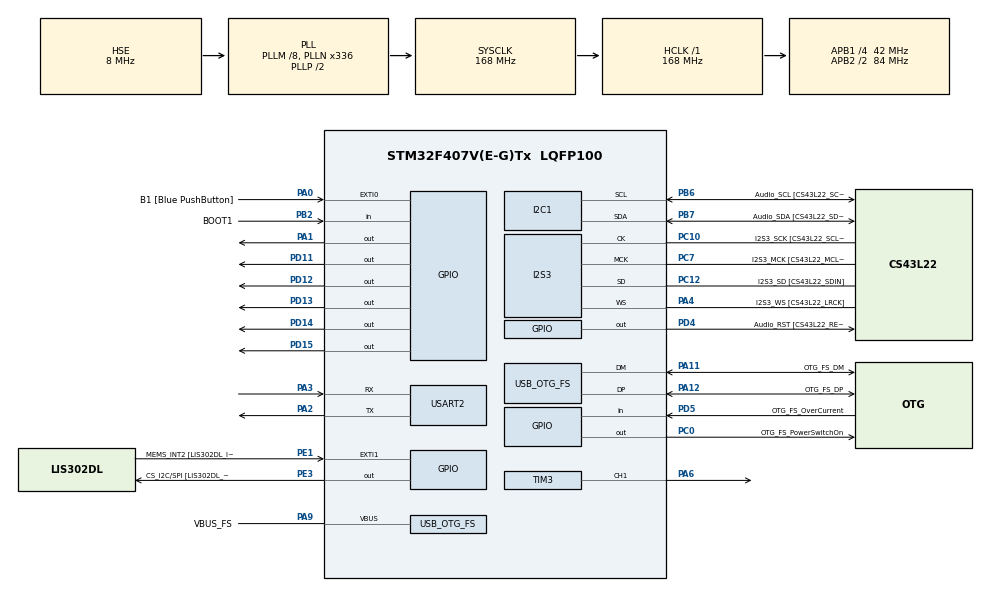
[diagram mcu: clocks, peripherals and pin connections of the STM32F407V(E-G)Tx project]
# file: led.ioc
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I2S3.AudioFreq-Half_Duplex_Master=I2S_AUDIOFREQ_96K
I2S3.ErrorAudioFreq=-2.34 %
I2S3.ErrorAudioFreq-Half_Duplex_Master=0.8 %
I2S3.FullDuplexMode=I2S_FULLDUPLEXMODE_DISABLE
I2S3.Instance=SPI$Index
I2S3.RealAudioFreq=93.75 KHz
I2S3.RealAudioFreq-Half_Duplex_Master=96.774 KHz
I2S3.VirtualMode=I2S_MODE_MASTER
Mcu.Family=STM32F4
Mcu.Name=STM32F407V(E-G)Tx
Mcu.Package=LQFP100
NVIC.OTG_FS_IRQn=true\:0\:0\:false\:false\:true\:true\:true\:true
NVIC.PriorityGroup=NVIC_PRIORITYGROUP_0
PA0-WKUP.GPIO_Label=B1 [Blue PushButton]
PA0-WKUP.GPIO_ModeDefaultEXTI=GPIO_MODE_EVT_RISING
PA0-WKUP.GPIO_PuPd=GPIO_NOPULL
PA0-WKUP.Signal=GPXTI0
PA1.Signal=GPIO_Output
PA10.GPIO_Label=OTG_FS_ID
PA10.GPIO_Mode=GPIO_MODE_AF_PP
PA10.GPIO_PuPd=GPIO_NOPULL
PA10.GPIO_Speed=GPIO_SPEED_FREQ_LOW
PA10.Signal=USB_OTG_FS_ID
PA11.GPIO_Label=OTG_FS_DM
PA11.GPIO_Mode=GPIO_MODE_AF_PP
PA11.GPIO_PuPd=GPIO_NOPULL
PA11.GPIO_Speed=GPIO_SPEED_FREQ_LOW
PA11.Mode=Host_Only
PA11.Signal=USB_OTG_FS_DM
PA12.GPIO_Label=OTG_FS_DP
PA12.GPIO_Mode=GPIO_MODE_AF_PP
PA12.GPIO_PuPd=GPIO_NOPULL
PA12.GPIO_Speed=GPIO_SPEED_FREQ_LOW
PA12.Mode=Host_Only
PA12.Signal=USB_OTG_FS_DP
PA13.GPIO_Label=SWDIO
PA13.Mode=Serial_Wire
PA13.Signal=SYS_JTMS-SWDIO
PA14.GPIO_Label=SWCLK
PA14.Mode=Serial_Wire
PA14.Signal=SYS_JTCK-SWCLK
PA2.Mode=Asynchronous
PA2.Signal=USART2_TX
PA3.Mode=Asynchronous
PA3.Signal=USART2_RX
PA4.GPIO_Label=I2S3_WS [CS43L22_LRCK]
PA4.GPIO_Mode=GPIO_MODE_AF_PP
PA4.GPIO_PuPd=GPIO_NOPULL
PA4.GPIO_Speed=GPIO_SPEED_FREQ_LOW
PA4.Mode=Half_Duplex_Master
PA4.Signal=I2S3_WS
PA5.GPIO_Label=SPI1_SCK [LIS302DL_SCL/SPC]
PA5.GPIO_Mode=GPIO_MODE_AF_PP
PA5.GPIO_PuPd=GPIO_NOPULL
PA5.GPIO_Speed=GPIO_SPEED_FREQ_LOW
PA5.Signal=SPI1_SCK
PA6.Signal=S_TIM3_CH1
PA7.GPIO_Label=SPI1_MOSI [LIS302DL_SDA/SDI/SDO]
PA7.GPIO_Mode=GPIO_MODE_AF_PP
PA7.GPIO_PuPd=GPIO_NOPULL
PA7.GPIO_Speed=GPIO_SPEED_FREQ_LOW
PA7.Signal=SPI1_MOSI
PA9.GPIO_Label=VBUS_FS
PA9.GPIO_Mode=GPIO_MODE_INPUT
PA9.GPIO_PuPd=GPIO_NOPULL
PA9.Mode=Activate_VBUS
PA9.Signal=USB_OTG_FS_VBUS
PB10.GPIO_Label=CLK_IN [MP45DT02_CLK]
PB10.GPIO_Mode=GPIO_MODE_AF_PP
PB10.GPIO_PuPd=GPIO_NOPULL
PB10.GPIO_Speed=GPIO_SPEED_FREQ_LOW
PB10.Signal=I2S2_CK
PB2.GPIO_Label=BOOT1
PB2.GPIO_Mode=GPIO_MODE_INPUT
PB2.GPIO_PuPd=GPIO_NOPULL
PB2.Signal=GPIO_Input
PB3.GPIO_Label=SWO
PB3.Signal=SYS_JTDO-SWO
PB6.GPIO_Label=Audio_SCL [CS43L22_SCL]
PB6.GPIO_Mode=GPIO_MODE_AF_OD
PB6.GPIO_Pu=GPIO_PULLUP
PB6.GPIO_PuPd=GPIO_NOPULL
PB6.GPIO_Speed=GPIO_SPEED_FREQ_LOW
PB6.Mode=I2C
PB6.Signal=I2C1_SCL
PB7.GPIO_Label=Audio_SDA [CS43L22_SDA]
PB7.GPIO_Mode=GPIO_MODE_AF_OD
PB7.GPIO_Pu=GPIO_PULLUP
PB7.GPIO_Speed=GPIO_SPEED_FREQ_LOW
PB7.Mode=I2C
PB7.Signal=I2C1_SDA
PC0.GPIO_Label=OTG_FS_PowerSwitchOn
PC0.GPIO_PuPd=GPIO_NOPULL
PC0.GPIO_Speed=GPIO_SPEED_FREQ_LOW
PC0.PinState=GPIO_PIN_SET
PC0.Signal=GPIO_Output
PC10.GPIO_Label=I2S3_SCK [CS43L22_SCLK]
PC10.GPIO_Mode=GPIO_MODE_AF_PP
PC10.GPIO_PuPd=GPIO_NOPULL
PC10.GPIO_Speed=GPIO_SPEED_FREQ_LOW
PC10.Mode=Half_Duplex_Master
PC10.Signal=I2S3_CK
PC12.GPIO_Label=I2S3_SD [CS43L22_SDIN]
PC12.GPIO_Mode=GPIO_MODE_AF_PP
PC12.GPIO_PuPd=GPIO_NOPULL
PC12.GPIO_Speed=GPIO_SPEED_FREQ_LOW
PC12.Mode=Half_Duplex_Master
PC12.Signal=I2S3_SD
PC14-OSC32_IN.GPIO_Label=PC14-OSC32_IN
PC14-OSC32_IN.Mode=LSE-External-Oscillator
PC14-OSC32_IN.Signal=RCC_OSC32_IN
PC15-OSC32_OUT.GPIO_Label=PC15-OSC32_OUT
PC15-OSC32_OUT.Mode=LSE-External-Oscillator
PC15-OSC32_OUT.Signal=RCC_OSC32_OUT
PC3.GPIO_Label=PDM_OUT [MP45DT02_DOUT]
PC3.GPIO_Mode=GPIO_MODE_AF_PP
PC3.GPIO_PuPd=GPIO_NOPULL
PC3.GPIO_Speed=GPIO_SPEED_FREQ_LOW
PC3.Signal=I2S2_SD
PC7.GPIO_Label=I2S3_MCK [CS43L22_MCLK]
PC7.GPIO_Mode=GPIO_MODE_AF_PP
PC7.GPIO_PuPd=GPIO_NOPULL
PC7.GPIO_Speed=GPIO_SPEED_FREQ_LOW
PC7.Mode=Master_Clock_Activated
PC7.Signal=I2S3_MCK
PD11.Signal=GPIO_Output
PD12.Signal=GPIO_Output
PD13.Signal=GPIO_Output
PD14.Signal=GPIO_Output
PD15.Signal=GPIO_Output
PD4.GPIO_Label=Audio_RST [CS43L22_RESET]
PD4.GPIO_PuPd=GPIO_NOPULL
PD4.GPIO_Speed=GPIO_SPEED_FREQ_LOW
PD4.Signal=GPIO_Output
PD5.GPIO_Label=OTG_FS_OverCurrent
PD5.GPIO_Mode=GPIO_MODE_INPUT
PD5.GPIO_PuPd=GPIO_NOPULL
PD5.Signal=GPIO_Input
PE1.GPIO_Label=MEMS_INT2 [LIS302DL_INT2]
PE1.GPIO_ModeDefaultEXTI=GPIO_MODE_EVT_RISING
PE1.GPIO_PuPd=GPIO_NOPULL
PE1.Signal=GPXTI1
PE3.GPIO_Label=CS_I2C/SPI [LIS302DL_CS_I2C/SPI]
PE3.GPIO_PuPd=GPIO_NOPULL
PE3.GPIO_Speed=GPIO_SPEED_FREQ_LOW
PE3.Signal=GPIO_Output
PH0-OSC_IN.GPIO_Label=PH0-OSC_IN
PH0-OSC_IN.Mode=HSE-External-Oscillator
PH0-OSC_IN.Signal=RCC_OSC_IN
PH1-OSC_OUT.GPIO_Label=PH1-OSC_OUT
PH1-OSC_OUT.Mode=HSE-External-Oscillator
PH1-OSC_OUT.Signal=RCC_OSC_OUT
ProjectManager.HeapSize=0x200
ProjectManager.StackSize=0x400
ProjectManager.TargetToolchain=Makefile
RCC.48MHZClocksFreq_Value=48000000
RCC.AHBFreq_Value=168000000
RCC.APB1CLKDivider=RCC_HCLK_DIV4
RCC.APB1Freq_Value=42000000
RCC.APB1TimFreq_Value=84000000
RCC.APB2CLKDivider=RCC_HCLK_DIV2
RCC.APB2Freq_Value=84000000
RCC.APB2TimFreq_Value=168000000
RCC.CortexFreq_Value=168000000
RCC.HCLKFreq_Value=168000000
RCC.HSE_VALUE=8000000
RCC.HSI_VALUE=16000000
RCC.PLLM=8
RCC.PLLN=336
RCC.PLLQ=7
RCC.SYSCLKFreq_VALUE=168000000
RCC.SYSCLKSource=RCC_SYSCLKSOURCE_PLLCLK
RCC.VCOOutputFreq_Value=336000000
SH.S_TIM3_CH1.0=TIM3_CH1,PWM Generation1 CH1
TIM3.Channel-PWM\ Generation1\ CH1=TIM_CHANNEL_1
TIM3.Period=999
TIM3.Prescaler=167
USART2.VirtualMode=VM_ASYNC
USB_HOST.BSP.number=1
USB_HOST.USBH_HandleTypeDef-CDC_FS=hUsbHostFS
USB_HOST.VirtualModeFS=Cdc
USB_HOST0.BSP.STBoard=false
USB_HOST0.BSP.api=Unknown
USB_HOST0.BSP.instance=PC0
USB_HOST0.BSP.ip=GPIO
USB_HOST0.BSP.mode=Output
USB_HOST0.BSP.name=Drive_VBUS_FS
USB_HOST0.BSP.solution=PC0
USB_OTG_FS.VirtualMode=Host_Only
USB_OTG_FS.phy_itface=HCD_PHY_EMBEDDED
VP_TIM3_VS_ClockSourceINT.Mode=Internal
VP_USB_HOST_VS_USB_HOST_CDC_FS.Mode=CDC_FS
board=STM32F407G-DISC1

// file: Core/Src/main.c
/* USER CODE BEGIN Header */
/**
  ******************************************************************************
  * @file           : main.c
  * @brief          : Main program body
  ******************************************************************************
  * @attention
  *
  * Copyright (c) 2026 STMicroelectronics.
  * All rights reserved.
  *
  * This software is licensed under terms that can be found in the LICENSE file
  * in the root directory of this software component.
  * If no LICENSE file comes with this software, it is provided AS-IS.
  *
  ******************************************************************************
  */
/* USER CODE END Header */
#include "main.h"
#include "i2c.h"
#include "i2s.h"
#include "tim.h"
#include "usart.h"
#include "usb_host.h"
#include "gpio.h"

/* USER CODE BEGIN Includes */
#include <string.h>
#include <stdio.h>
#include "ssd1306.h"
#include "ssd1306_fonts.h"
#include <stdio.h>
#include <math.h>
/* USER CODE END Includes */

/* USER CODE BEGIN PV */
uint8_t rx_byte;
char cmd_buffer[64];
uint8_t cmd_index = 0;
/* USER CODE END PV */

void SystemClock_Config(void);
void MX_USB_HOST_Process(void);

/* USER CODE BEGIN PFP */
void Process_Command(char *cmd);
/* USER CODE END PFP */

int main(void)
{

  /* MCU Configuration--------------------------------------------------------*/

  /* Reset of all peripherals, Initializes the Flash interface and the Systick. */
  HAL_Init();

  /* Configure the system clock */
  SystemClock_Config();

  /* Initialize all configured peripherals */
  MX_GPIO_Init();
  MX_I2C1_Init();
  MX_I2S3_Init();
  MX_USART2_UART_Init();
  MX_USB_HOST_Init();
  MX_TIM3_Init();

  /* Infinite loop */
  while (1)
  {
    MX_USB_HOST_Process();

    /* USER CODE BEGIN 3 */

    uint8_t byte;
HAL_UART_Receive(&huart2, &byte, 1, HAL_MAX_DELAY);

switch(byte)
{
    case '1':
        HAL_GPIO_WritePin(GPIOD, GPIO_PIN_12, GPIO_PIN_SET);
        HAL_Delay(500);
        HAL_GPIO_WritePin(GPIOD, GPIO_PIN_12, GPIO_PIN_RESET);
        break;
    case '2':
        HAL_GPIO_WritePin(GPIOD, GPIO_PIN_13, GPIO_PIN_SET);
        HAL_Delay(500);
        HAL_GPIO_WritePin(GPIOD, GPIO_PIN_13, GPIO_PIN_RESET);
        break;
    case '3':
        HAL_GPIO_WritePin(GPIOD, GPIO_PIN_14, GPIO_PIN_SET);
        HAL_Delay(500);
        HAL_GPIO_WritePin(GPIOD, GPIO_PIN_14, GPIO_PIN_RESET);
        break;
    case '4':
        HAL_GPIO_WritePin(GPIOD, GPIO_PIN_15, GPIO_PIN_SET);
        HAL_Delay(500);
        HAL_GPIO_WritePin(GPIOD, GPIO_PIN_15, GPIO_PIN_RESET);
        break;
}
  }
    /* USER CODE END WHILE */
    MX_USB_HOST_Process();

    /* USER CODE BEGIN 3 */
  }
  /* USER CODE END 3 */

void SystemClock_Config(void)
{
  RCC_OscInitTypeDef RCC_OscInitStruct = {0};
  RCC_ClkInitTypeDef RCC_ClkInitStruct = {0};

  /** Configure the main internal regulator output voltage
  */
  __HAL_RCC_PWR_CLK_ENABLE();
  __HAL_PWR_VOLTAGESCALING_CONFIG(PWR_REGULATOR_VOLTAGE_SCALE1);

  /** Initializes the RCC Oscillators according to the specified parameters
  * in the RCC_OscInitTypeDef structure.
  */
  RCC_OscInitStruct.OscillatorType = RCC_OSCILLATORTYPE_HSE;
  RCC_OscInitStruct.HSEState = RCC_HSE_ON;
  RCC_OscInitStruct.PLL.PLLState = RCC_PLL_ON;
  RCC_OscInitStruct.PLL.PLLSource = RCC_PLLSOURCE_HSE;
  RCC_OscInitStruct.PLL.PLLM = 8;
  RCC_OscInitStruct.PLL.PLLN = 336;
  RCC_OscInitStruct.PLL.PLLP = RCC_PLLP_DIV2;
  RCC_OscInitStruct.PLL.PLLQ = 7;
  if (HAL_RCC_OscConfig(&RCC_OscInitStruct) != HAL_OK)
  {
    Error_Handler();
  }

  /** Initializes the CPU, AHB and APB buses clocks
  */
  RCC_ClkInitStruct.ClockType = RCC_CLOCKTYPE_HCLK|RCC_CLOCKTYPE_SYSCLK
                              |RCC_CLOCKTYPE_PCLK1|RCC_CLOCKTYPE_PCLK2;
  RCC_ClkInitStruct.SYSCLKSource = RCC_SYSCLKSOURCE_PLLCLK;
  RCC_ClkInitStruct.AHBCLKDivider = RCC_SYSCLK_DIV1;
  RCC_ClkInitStruct.APB1CLKDivider = RCC_HCLK_DIV4;
  RCC_ClkInitStruct.APB2CLKDivider = RCC_HCLK_DIV2;

  if (HAL_RCC_ClockConfig(&RCC_ClkInitStruct, FLASH_LATENCY_5) != HAL_OK)
  {
    Error_Handler();
  }
}

/* USER CODE BEGIN 4 */
int __io_putchar(int ch)
{
  HAL_UART_Transmit(&huart2, (uint8_t *)&ch, 1, 10);
  return ch;
}
/* USER CODE END 4 */

void Error_Handler(void)
{
  __disable_irq();
  while (1)
  {
  }
}
